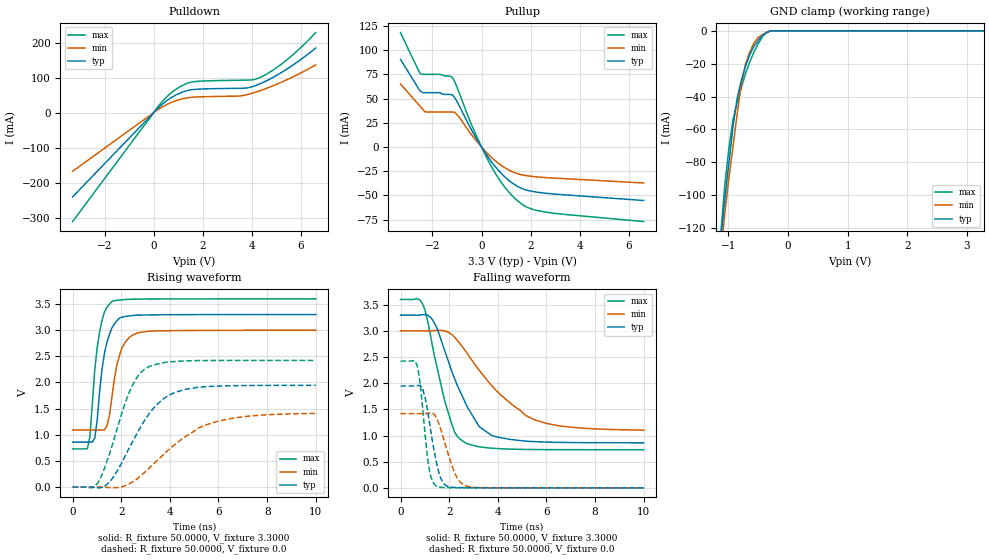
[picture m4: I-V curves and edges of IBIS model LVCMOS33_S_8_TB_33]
| [Disclaimer]
| Copyright 2006, Xilinx Inc., All rights reserved
| [Copyright]
| From battleship.ibs, Spartan-3A, Xilinx Inc.
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|   Model LVCMOS33_S_8_TB_33
[Model]  LVCMOS33_S_8_TB_33
Model_type I/O
Polarity   Non-Inverting
Enable   Active-Low
Vinl =   0.8000V
Vinh =   2.0000V
Vmeas =  1.6500V
Cref =   0.0F
Rref =   1.0000M
Vref =   0.0V
C_comp   6.5640pF   6.1748pF   7.0674pF
[Temperature Range]   27.0000   85.0000   0.0
[Voltage Range]   3.3000V   3.0000V   3.6000V
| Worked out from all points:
|   slope of the pulldown table from 0 to 0.495 V, typ, clamps not added: 15.3 ohm
|   slope of the pullup table from 0 to 0.495 V, typ, clamps not added: 27.1 ohm
|   GND clamp passes 1 mA (typ) near -0.34 V on its own axis
|   rising waveform, R_fixture 50.0000, V_fixture 3.3000: 20-80 % time 419ps typ, 451ps min, 371ps max; typ from 0.86 V to 3.3 V
|   rising waveform, R_fixture 50.0000, V_fixture 0.0: 20-80 % time 1.49ns typ, 2.2ns min, 1.05ns max; typ from 0 V to 1.95 V
|   falling waveform, R_fixture 50.0000, V_fixture 3.3000: 20-80 % time 1.32ns typ, 2.25ns min, 868ps max; typ from 3.3 V to 0.86 V
|   falling waveform, R_fixture 50.0000, V_fixture 0.0: 20-80 % time 444ps typ, 584ps min, 318ps max; typ from 1.95 V to 0 V
[Pulldown]
|Voltage   I(typ)   I(min)   I(max)
-3.3V     -240.1mA   -167.1mA   -310.4mA
200mV     14.57mA    9.891mA    19.24mA
800mV     46.47mA    31.47mA    61.36mA
1.2V      59.52mA    40.02mA    78.9mA
1.6V      65.99mA    44.18mA    88.04mA
3.5V      69.7mA     47.68mA    92.59mA
3.9V      72mA       53.35mA    93.17mA
4.3V      81.62mA    61.99mA    99.47mA
4.8V      98.5mA     75.07mA    118.7mA
5.4V      123.3mA    93.2mA     149.5mA
6V        152mA      113.7mA    186.3mA
6.6V      184.6mA    136.3mA    228.5mA
[Pullup]
|Voltage   I(typ)   I(min)   I(max)
-3.3V     90.51mA    65.01mA    118.2mA
-2.5V     57.75mA    41.94mA    75.68mA
-2.3V     56.2mA     36.27mA    75.08mA
-1.2V     54.04mA    36.12mA    72.15mA
-1V       47.05mA    33.53mA    61.75mA
-400mV    17.22mA    12.49mA    22.49mA
400mV     -15.15mA   -10.65mA   -20.15mA
1V        -32.08mA   -22.18mA   -43.21mA
1.6V      -42.37mA   -28.47mA   -58.28mA
2V        -45.48mA   -30.16mA   -63.7mA
2.7V      -47.93mA   -31.68mA   -67.53mA
6.6V      -55.21mA   -37.14mA   -76.96mA
[GND_clamp]
|Voltage   I(typ)   I(min)   I(max)
-3.3V     -1A        -900mA     -1.15A
-1.13V    -128.6mA   -136.9mA   -126mA
-1.06V    -103.6mA   -112.3mA   -94.8mA
-990mV    -80.74mA   -90.11mA   -72mA
-920mV    -58.26mA   -70.33mA   -54mA
-850mV    -41mA      -50.55mA   -44mA
-780mV    -30mA      -32.5mA    -34.5mA
-710mV    -21.5mA    -20.25mA   -26mA
-570mV    -9.5mA     -7.5mA     -13mA
-430mV    -2.75mA    -2.4mA     -3.625mA
-360mV    -1.333mA   -1mA       -1mA
3.28V     0A         0A         0A
[POWER_clamp]
|Voltage   I(typ)   I(min)   I(max)
-3.28V    0A         0A         0A
-3.24V    0A         0A         0A
-3.2V     0A         0A         0A
0V        0A         0A         0A
[Ramp]
dV/dt_r  1.1676/1.4801n   0.8454/2.2839n   1.4532/1.0342n
dV/dt_f  1.4638/1.3136n   1.1388/2.2336n   1.7227/0.8575n
R_load = 50.0000
[Rising Waveform]
R_fixture= 50.0000
V_fixture= 3.3000
V_fixture_min= 3.0000
V_fixture_max= 3.6000
|time   V(typ)   V(min)   V(max)
0s        859.8mV    1.092V     728.8mV
610ps     859.8mV    1.092V     736.2mV
710ps     858.6mV    1.092V     956.2mV
910ps     934.6mV    1.092V     2.235V
1.21ns    2.258V     1.089V     3.189V
1.41ns    2.765V     1.165V     3.437V
1.62ns    3.046V     1.732V     3.551V
2.02ns    3.248V     2.654V     3.581V
2.63ns    3.289V     2.941V     3.594V
10ns      3.3V       2.999V     3.6V
[Rising Waveform]
R_fixture= 50.0000
V_fixture= 0.0
|time   V(typ)   V(min)   V(max)
0s        0V         0V         0V
1.01ns    -14.28mV   -2.486uV   61.89mV
1.62ns    153.1mV    -12.92mV   782.6mV
2.32ns    739.2mV    58.54mV    1.803V
2.63ns    1.008V     148.8mV    2.085V
3.03ns    1.324V     308.4mV    2.276V
3.94ns    1.751V     709.7mV    2.393V
5.45ns    1.919V     1.182V     2.42V
7.17ns    1.942V     1.353V     2.422V
10ns      1.946V     1.409V     2.422V
[Falling Waveform]
R_fixture= 50.0000
V_fixture= 3.3000
V_fixture_min= 3.0000
V_fixture_max= 3.6000
|time   V(typ)   V(min)   V(max)
0s        3.3V       3V         3.6V
910ps     3.31V      3V         3.516V
1.11ns    3.299V     2.999V     3.205V
1.41ns    3.135V     3.006V     2.487V
2.12ns    2.213V     2.927V     1.203V
2.73ns    1.56V      2.575V     843.2mV
3.23ns    1.174V     2.251V     783.9mV
3.74ns    1.003V     1.958V     757.1mV
5.45ns    884.3mV    1.314V     732.2mV
10ns      860.3mV    1.102V     728.8mV
[Falling Waveform]
R_fixture= 50.0000
V_fixture= 0.0
|time   V(typ)   V(min)   V(max)
0s        1.946V     1.418V     2.422V
710ps     1.954V     1.418V     2.293V
910ps     1.891V     1.417V     1.524V
1.11ns    1.486V     1.422V     574mV
1.21ns    1.193V     1.434V     270mV
1.52ns    397.8mV    1.295V     26.18mV
1.82ns    58.2mV     862.8mV    5.182mV
2.22ns    8.221mV    291.4mV    2.074mV
2.73ns    2.856mV    32.25mV    937.1uV
10ns      10.97uV    65.32uV    8.06uV
